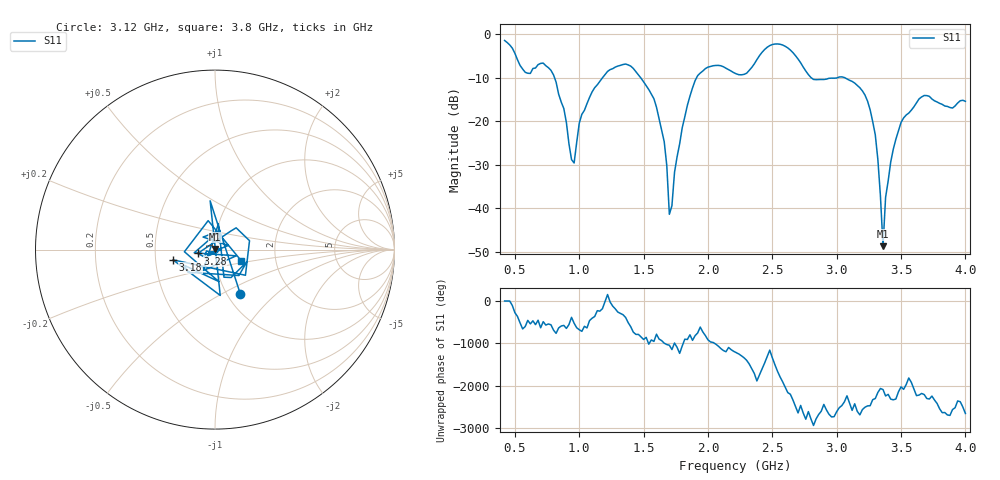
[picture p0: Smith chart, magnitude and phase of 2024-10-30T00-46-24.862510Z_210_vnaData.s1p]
!Created with skrf (http://scikit-rf.org).
# Hz S RI R 50.0
!freq ReS11 ImS11
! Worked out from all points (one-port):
!   180 points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, 420 MHz to 4 GHz, reference 50 ohm
!   lowest |S11| = -48.7 dB at 3.36 GHz (marker M1), VSWR 1.01, Z = 50.1 + j0.346 ohm
!   |S11| at or under -10 dB: 807.3 MHz to 1.182 GHz (374.6 MHz wide, 37.7 % of centre); 1.476 GHz to 1.912 GHz (436.6 MHz wide, 25.8 % of centre); 3.06 GHz to end of sweep (the widest 3 of 4)
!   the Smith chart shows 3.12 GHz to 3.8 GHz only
!   S11 on the Smith chart (normalised r, x): 3.12 GHz: 1.15, -0.62; 3.18 GHz: 0.62, -0.07; 3.28 GHz: 0.82, -0.04; 3.8 GHz: 1.33, -0.17
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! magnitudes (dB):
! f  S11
! 420 MHz  -1.5
! 580 MHz  -8.8
! 780 MHz  -8.3
! 880 MHz  -17.1
! 960 MHz  -29.6
! 1 GHz  -20.5
! 1.1 GHz  -13.3
! 1.32 GHz  -7.2
! 1.58 GHz  -14.9
! 1.66 GHz  -24.7
! 1.7 GHz  -41.4
! 1.78 GHz  -25.2
! 1.92 GHz  -9.6
! 2.22 GHz  -9.2
! 2.5 GHz  -2.4
! 2.66 GHz  -4.3
! 2.82 GHz  -10.4
! 3.12 GHz  -10.9
! 3.18 GHz  -12.3
! 3.28 GHz  -20.1
! 3.32 GHz  -28.9
! 3.36 GHz  -48.7
! 3.38 GHz  -37.5
! 3.42 GHz  -29.4
! 3.56 GHz  -18.2
! 3.68 GHz  -14.1
! 3.8 GHz  -15.9
! 4 GHz  -15.5
